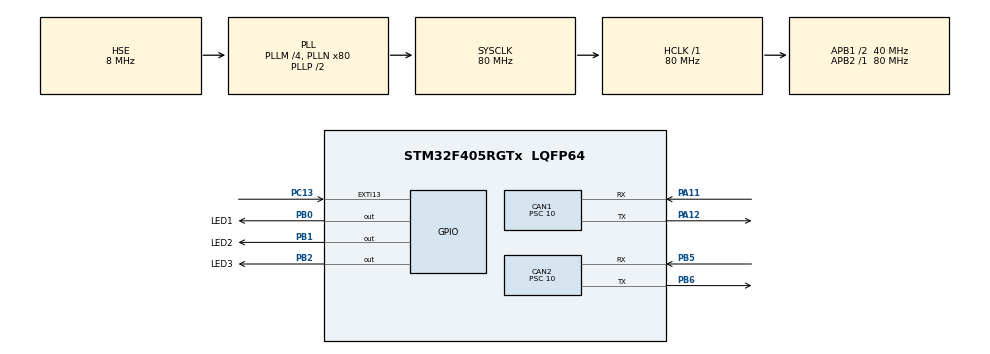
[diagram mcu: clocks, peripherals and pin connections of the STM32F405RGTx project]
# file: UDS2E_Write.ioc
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CAN1.BS1=CAN_BS1_4TQ
CAN1.BS2=CAN_BS2_3TQ
CAN1.CalculateBaudRate=500000
CAN1.CalculateTimeBit=2000
CAN1.CalculateTimeQuantum=250.0
CAN1.Prescaler=10
CAN1.SJW=CAN_SJW_2TQ
CAN2.BS1=CAN_BS1_4TQ
CAN2.BS2=CAN_BS2_3TQ
CAN2.CalculateBaudRate=500000
CAN2.CalculateTimeBit=2000
CAN2.CalculateTimeQuantum=250.0
CAN2.Prescaler=10
CAN2.SJW=CAN_SJW_2TQ
Mcu.Family=STM32F4
Mcu.Name=STM32F405RGTx
Mcu.Package=LQFP64
NVIC.CAN1_RX0_IRQn=true\:0\:0\:false\:false\:true\:true\:true\:true
NVIC.CAN2_RX0_IRQn=true\:0\:0\:false\:false\:true\:true\:true\:true
NVIC.EXTI15_10_IRQn=true\:0\:0\:false\:false\:true\:true\:true\:true
NVIC.PriorityGroup=NVIC_PRIORITYGROUP_4
PA11.Mode=CAN_Activate
PA11.Signal=CAN1_RX
PA12.Mode=CAN_Activate
PA12.Signal=CAN1_TX
PA13.Mode=Serial_Wire
PA13.Signal=SYS_JTMS-SWDIO
PA14.Mode=Serial_Wire
PA14.Signal=SYS_JTCK-SWCLK
PB0.GPIO_Label=LED1
PB0.Signal=GPIO_Output
PB1.GPIO_Label=LED2
PB1.Signal=GPIO_Output
PB2.GPIO_Label=LED3
PB2.Signal=GPIO_Output
PB5.Mode=CAN_Activate
PB5.Signal=CAN2_RX
PB6.Mode=CAN_Activate
PB6.Signal=CAN2_TX
PC13-ANTI_TAMP.Signal=GPXTI13
PH0-OSC_IN.Mode=HSE-External-Oscillator
PH0-OSC_IN.Signal=RCC_OSC_IN
PH1-OSC_OUT.Mode=HSE-External-Oscillator
PH1-OSC_OUT.Signal=RCC_OSC_OUT
ProjectManager.HeapSize=0x200
ProjectManager.StackSize=0x400
ProjectManager.TargetToolchain=STM32CubeIDE
RCC.48MHZClocksFreq_Value=40000000
RCC.AHBFreq_Value=80000000
RCC.APB1CLKDivider=RCC_HCLK_DIV2
RCC.APB1Freq_Value=40000000
RCC.APB1TimFreq_Value=80000000
RCC.APB2Freq_Value=80000000
RCC.APB2TimFreq_Value=80000000
RCC.CortexFreq_Value=80000000
RCC.HCLKFreq_Value=80000000
RCC.HSE_VALUE=8000000
RCC.HSI_VALUE=16000000
RCC.LSE_VALUE=32768
RCC.PLLM=4
RCC.PLLN=80
RCC.PLLSourceVirtual=RCC_PLLSOURCE_HSE
RCC.SYSCLKFreq_VALUE=80000000
RCC.SYSCLKSource=RCC_SYSCLKSOURCE_PLLCLK
RCC.VCOOutputFreq_Value=160000000
board=custom

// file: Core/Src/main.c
/* USER CODE BEGIN Header */
/**
  ******************************************************************************
  * @file           : main.c
  * @brief          : Main program body
  ******************************************************************************
  * @attention
  *
  * <h2><center>&copy; Copyright (c) 2023 STMicroelectronics.
  * All rights reserved.</center></h2>
  *
  * This software component is licensed by ST under BSD 3-Clause license,
  * the "License"; You may not use this file except in compliance with the
  * License. You may obtain a copy of the License at:
  *                        opensource.org/licenses/BSD-3-Clause
  *
  ******************************************************************************
  */
/* USER CODE END Header */
#include "main.h"

/* USER CODE BEGIN Includes */
#include "stm32f4xx_hal_can.h"
#include "stm32f4xx_hal_conf.h"
#include <stdlib.h>

/* USER CODE END Includes */

CAN_HandleTypeDef hcan1;
CAN_HandleTypeDef hcan2;

void SystemClock_Config(void);
static void MX_GPIO_Init(void);
static void MX_CAN1_Init(void);
static void MX_CAN2_Init(void);

/* USER CODE BEGIN 0 */

CAN_TxHeaderTypeDef TxHeader;
CAN_RxHeaderTypeDef RxHeader;

uint32_t TxMailbox;

uint8_t TxData[8];
uint8_t RxData[8];

// Khởi tạo dữ liệu cần gửi
uint8_t data[4] = {0x01, 0x02, 0x03, 0x04}; // Dữ liệu cần ghi
uint8_t dataLength = 4; // Độ dài dữ liệu

void Init_ECU(){
	TxHeader.DLC = 8;
	TxHeader.ExtId = 0x11111111; // Assuming Extended ID
	TxHeader.IDE = CAN_ID_EXT;
	TxHeader.RTR = CAN_RTR_DATA;
	TxHeader.StdId = 0x104; // UDS Service ID for ReadData
	TxHeader.TransmitGlobalTime = DISABLE;

}

void Init_Tester(uint8_t dataIdentifier, uint8_t* data, uint8_t dataLength){

	TxHeader.DLC = 8;
	TxHeader.ExtId = 0x11111111;
	TxHeader.IDE = CAN_ID_EXT;
	TxHeader.RTR = CAN_RTR_DATA;
	TxHeader.StdId = 46;
	TxHeader.TransmitGlobalTime = DISABLE;

    // Chuẩn bị dữ liệu cho yêu cầu $2E WriteData
    TxData[0] = dataLength + 3; // Độ dài dữ liệu (bao gồm cả Service ID, Data Identifier và dữ liệu thực tế)
    TxData[1] = 0x2E; // Service ID cho yêu cầu $2E WriteData
    TxData[2] = dataIdentifier; // Data Identifier
    // Sao chép dữ liệu vào TxData từ mảng data
    for (int i = 0; i < dataLength; i++) {
        TxData[i + 3] = data[i];
    }
}

// Hàm xử lý yêu cầu $2E WriteData từ Tester
void Process_WriteData_Request(uint8_t dataIdentifier, uint8_t* data, uint8_t dataLength) {
	// Chuẩn bị dữ liệu cho yêu cầu $2E WriteData
    Init_Tester(dataIdentifier, data, dataLength);
    if (HAL_CAN_AddTxMessage(&hcan1, &TxHeader, TxData, &TxMailbox) != HAL_OK) {
        // Led 3 sáng báo lỗi
    	HAL_GPIO_WritePin(GPIOB, LED3_Pin, GPIO_PIN_SET);
    }
}

// Hàm xử lý phản hồi từ ECU sau khi nhận yêu cầu $2E WriteData
void Process_WriteData_Response() {
    // Kiểm tra phản hồi  $2E WriteData
    if (RxData[1] == 0x6E) {
        // Xử lý phản hồi từ ECU
    	HAL_GPIO_WritePin(LED2_GPIO_Port, LED2_Pin, GPIO_PIN_SET);
    }
    else
    	HAL_GPIO_WritePin(LED2_GPIO_Port, LED2_Pin, GPIO_PIN_RESET);
}

// Callback cho việc nhận tin nhắn trên FIFO0

void HAL_CAN_RxFifo0MsgPendingCallback(CAN_HandleTypeDef *hcan){

	//ECU get Message
	if(HAL_CAN_GetRxMessage(&hcan2, CAN_RX_FIFO0 , &RxHeader, RxData) == HAL_OK){
        HAL_GPIO_WritePin(GPIOB, LED1_Pin, GPIO_PIN_RESET);
        Process_WriteData_Request(0x01, data, dataLength);
		};
	//Tester get Message
	if(HAL_CAN_GetRxMessage(&hcan1, CAN_RX_FIFO0 , &RxHeader, RxData) == HAL_OK){
        HAL_GPIO_WritePin(GPIOB, LED1_Pin, GPIO_PIN_SET);
        Process_WriteData_Response();
		};

}
/* USER CODE END 0 */

int main(void)
{

  /* MCU Configuration--------------------------------------------------------*/

  /* Reset of all peripherals, Initializes the Flash interface and the Systick. */
  HAL_Init();

  /* Configure the system clock */
  SystemClock_Config();

  /* Initialize all configured peripherals */
  MX_GPIO_Init();
  MX_CAN1_Init();
  MX_CAN2_Init();
  /* USER CODE BEGIN 2 */
  HAL_CAN_Start(&hcan1);
  HAL_CAN_Start(&hcan2);

  if (HAL_CAN_ActivateNotification(&hcan1, CAN_IT_RX_FIFO0_MSG_PENDING) != HAL_OK)
   {
   /* Notification Error */
 	  HAL_GPIO_WritePin(LED1_GPIO_Port, LED1_Pin, 1);
 	  HAL_GPIO_WritePin(LED2_GPIO_Port, LED2_Pin, 1);
   }

  HAL_CAN_ActivateNotification(&hcan2, CAN_IT_RX_FIFO0_MSG_PENDING);
  // Gửi yêu cầu $2E WriteData từ Tester (CAN1) đến ECU (CAN2)
  Process_WriteData_Request(0x01, data, dataLength);

  /* USER CODE END 2 */

  /* Infinite loop */
  while (1)
  {

  }
}

void SystemClock_Config(void)
{
  RCC_OscInitTypeDef RCC_OscInitStruct = {0};
  RCC_ClkInitTypeDef RCC_ClkInitStruct = {0};

  /** Configure the main internal regulator output voltage
  */
  __HAL_RCC_PWR_CLK_ENABLE();
  __HAL_PWR_VOLTAGESCALING_CONFIG(PWR_REGULATOR_VOLTAGE_SCALE1);

  /** Initializes the RCC Oscillators according to the specified parameters
  * in the RCC_OscInitTypeDef structure.
  */
  RCC_OscInitStruct.OscillatorType = RCC_OSCILLATORTYPE_HSE;
  RCC_OscInitStruct.HSEState = RCC_HSE_ON;
  RCC_OscInitStruct.PLL.PLLState = RCC_PLL_ON;
  RCC_OscInitStruct.PLL.PLLSource = RCC_PLLSOURCE_HSE;
  RCC_OscInitStruct.PLL.PLLM = 4;
  RCC_OscInitStruct.PLL.PLLN = 80;
  RCC_OscInitStruct.PLL.PLLP = RCC_PLLP_DIV2;
  RCC_OscInitStruct.PLL.PLLQ = 4;
  if (HAL_RCC_OscConfig(&RCC_OscInitStruct) != HAL_OK)
  {
    Error_Handler();
  }

  /** Initializes the CPU, AHB and APB buses clocks
  */
  RCC_ClkInitStruct.ClockType = RCC_CLOCKTYPE_HCLK|RCC_CLOCKTYPE_SYSCLK
                              |RCC_CLOCKTYPE_PCLK1|RCC_CLOCKTYPE_PCLK2;
  RCC_ClkInitStruct.SYSCLKSource = RCC_SYSCLKSOURCE_PLLCLK;
  RCC_ClkInitStruct.AHBCLKDivider = RCC_SYSCLK_DIV1;
  RCC_ClkInitStruct.APB1CLKDivider = RCC_HCLK_DIV2;
  RCC_ClkInitStruct.APB2CLKDivider = RCC_HCLK_DIV1;

  if (HAL_RCC_ClockConfig(&RCC_ClkInitStruct, FLASH_LATENCY_2) != HAL_OK)
  {
    Error_Handler();
  }
}

static void MX_CAN1_Init(void)
{

  hcan1.Instance = CAN1;
  hcan1.Init.Prescaler = 10;
  hcan1.Init.Mode = CAN_MODE_NORMAL;
  hcan1.Init.SyncJumpWidth = CAN_SJW_2TQ;
  hcan1.Init.TimeSeg1 = CAN_BS1_4TQ;
  hcan1.Init.TimeSeg2 = CAN_BS2_3TQ;
  hcan1.Init.TimeTriggeredMode = DISABLE;
  hcan1.Init.AutoBusOff = DISABLE;
  hcan1.Init.AutoWakeUp = DISABLE;
  hcan1.Init.AutoRetransmission = DISABLE;
  hcan1.Init.ReceiveFifoLocked = DISABLE;
  hcan1.Init.TransmitFifoPriority = DISABLE;
  if (HAL_CAN_Init(&hcan1) != HAL_OK)
  {
    Error_Handler();
  }
  /* USER CODE BEGIN CAN1_Init 2 */

    CAN_FilterTypeDef canfilterconfig;
    canfilterconfig.FilterActivation = CAN_FILTER_ENABLE;
    canfilterconfig.FilterBank = 2;
    canfilterconfig.FilterFIFOAssignment = CAN_RX_FIFO0;
    canfilterconfig.FilterIdHigh = 0;
    canfilterconfig.FilterIdLow = 0x0000;
    canfilterconfig.FilterMaskIdHigh = 0;
    canfilterconfig.FilterMaskIdLow = 0x0000;
    canfilterconfig.FilterMode = CAN_FILTERMODE_IDMASK;
    canfilterconfig.FilterScale = CAN_FILTERSCALE_32BIT;
    canfilterconfig.SlaveStartFilterBank = 14;

    HAL_CAN_ConfigFilter(&hcan1, &canfilterconfig);

  /* USER CODE END CAN1_Init 2 */

}

static void MX_CAN2_Init(void)
{

  hcan2.Instance = CAN2;
  hcan2.Init.Prescaler = 10;
  hcan2.Init.Mode = CAN_MODE_NORMAL;
  hcan2.Init.SyncJumpWidth = CAN_SJW_2TQ;
  hcan2.Init.TimeSeg1 = CAN_BS1_4TQ;
  hcan2.Init.TimeSeg2 = CAN_BS2_3TQ;
  hcan2.Init.TimeTriggeredMode = DISABLE;
  hcan2.Init.AutoBusOff = DISABLE;
  hcan2.Init.AutoWakeUp = DISABLE;
  hcan2.Init.AutoRetransmission = DISABLE;
  hcan2.Init.ReceiveFifoLocked = DISABLE;
  hcan2.Init.TransmitFifoPriority = DISABLE;
  if (HAL_CAN_Init(&hcan2) != HAL_OK)
  {
    Error_Handler();
  }
  /* USER CODE BEGIN CAN2_Init 2 */
  CAN_FilterTypeDef canfilterconfig1;
  canfilterconfig1.FilterActivation = CAN_FILTER_ENABLE;
  canfilterconfig1.FilterBank = 14;
  canfilterconfig1.FilterFIFOAssignment = CAN_RX_FIFO0;
  canfilterconfig1.FilterIdHigh = 0;
  canfilterconfig1.FilterIdLow = 0x0000;
  canfilterconfig1.FilterMaskIdHigh = 0;
  canfilterconfig1.FilterMaskIdLow = 0x0000;
  canfilterconfig1.FilterMode = CAN_FILTERMODE_IDMASK;
  canfilterconfig1.FilterScale = CAN_FILTERSCALE_32BIT;
  canfilterconfig1.SlaveStartFilterBank = 14;

  HAL_CAN_ConfigFilter(&hcan2, &canfilterconfig1);
  /* USER CODE END CAN2_Init 2 */

}

static void MX_GPIO_Init(void)
{
  GPIO_InitTypeDef GPIO_InitStruct = {0};

  /* GPIO Ports Clock Enable */
  __HAL_RCC_GPIOC_CLK_ENABLE();
  __HAL_RCC_GPIOH_CLK_ENABLE();
  __HAL_RCC_GPIOB_CLK_ENABLE();
  __HAL_RCC_GPIOA_CLK_ENABLE();

  /*Configure GPIO pin Output Level */
  HAL_GPIO_WritePin(GPIOB, LED1_Pin|LED2_Pin|LED3_Pin, GPIO_PIN_RESET);

  /*Configure GPIO pin : PC13 */
  GPIO_InitStruct.Pin = GPIO_PIN_13;
  GPIO_InitStruct.Mode = GPIO_MODE_IT_RISING;
  GPIO_InitStruct.Pull = GPIO_NOPULL;
  HAL_GPIO_Init(GPIOC, &GPIO_InitStruct);

  /*Configure GPIO pins : LED1_Pin LED2_Pin LED3_Pin */
  GPIO_InitStruct.Pin = LED1_Pin|LED2_Pin|LED3_Pin;
  GPIO_InitStruct.Mode = GPIO_MODE_OUTPUT_PP;
  GPIO_InitStruct.Pull = GPIO_NOPULL;
  GPIO_InitStruct.Speed = GPIO_SPEED_FREQ_LOW;
  HAL_GPIO_Init(GPIOB, &GPIO_InitStruct);

  /* EXTI interrupt init*/
  HAL_NVIC_SetPriority(EXTI15_10_IRQn, 0, 0);
  HAL_NVIC_EnableIRQ(EXTI15_10_IRQn);

}

void Error_Handler(void)
{
  __disable_irq();
  while (1)
  {
  }
}
